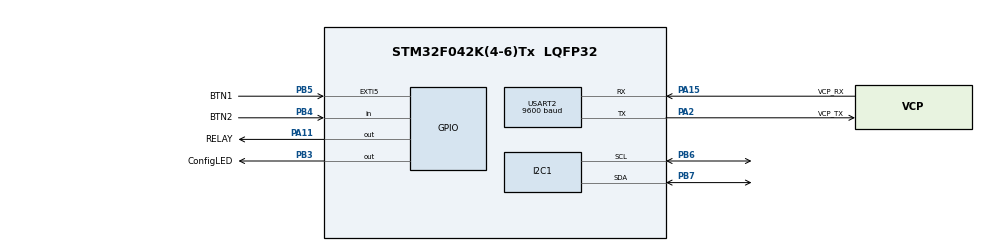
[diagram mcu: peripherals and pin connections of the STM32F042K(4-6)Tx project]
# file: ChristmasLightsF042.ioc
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Mcu.Family=STM32F0
Mcu.Name=STM32F042K(4-6)Tx
Mcu.Package=LQFP32
NVIC.EXTI4_15_IRQn=true\:0\:0\:false\:false\:true\:true\:true
NVIC.RTC_IRQn=true\:0\:0\:false\:false\:true\:true\:true
PA11.GPIO_Label=RELAY
PA11.GPIO_PuPd=GPIO_PULLDOWN
PA11.Signal=GPIO_Output
PA13.GPIO_Label=SWDIO
PA13.Mode=Serial_Wire
PA13.Signal=SYS_SWDIO
PA14.GPIO_Label=SWCLK
PA14.Mode=Serial_Wire
PA14.Signal=SYS_SWCLK
PA15.GPIO_Label=VCP_RX
PA15.Mode=Asynchronous
PA15.Signal=USART2_RX
PA2.GPIO_Label=VCP_TX
PA2.Mode=Asynchronous
PA2.Signal=USART2_TX
PB3.GPIO_Label=ConfigLED
PB3.Signal=GPIO_Output
PB4.GPIO_Label=BTN2
PB4.Signal=GPIO_Input
PB5.GPIO_Label=BTN1
PB5.GPIO_PuPd=GPIO_PULLDOWN
PB5.Signal=GPXTI5
PB6.Mode=I2C
PB6.Signal=I2C1_SCL
PB7.Mode=I2C
PB7.Signal=I2C1_SDA
PF0-OSC_IN.GPIO_Label=MCO
PF0-OSC_IN.Mode=HSE-External-Clock-Source
PF0-OSC_IN.Signal=RCC_OSC_IN
ProjectManager.HeapSize=0x200
ProjectManager.StackSize=0x400
ProjectManager.TargetToolchain=STM32CubeIDE
RTC.Alarm=RTC_ALARM_A
RTC.AsynchPrediv=99
RTC.Format=RTC_FORMAT_BIN
RTC.SynchPrediv=399
USART2.BaudRate=9600
USART2.VirtualMode-Asynchronous=VM_ASYNC
VP_RTC_VS_RTC_Activate.Mode=RTC_Enabled
VP_RTC_VS_RTC_Alarm_A_Intern.Mode=Alarm A
VP_RTC_VS_RTC_Calendar.Mode=RTC_Calendar
board=NUCLEO-F042K6

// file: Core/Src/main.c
/* USER CODE BEGIN Header */
/**
  ******************************************************************************
  * @file           : main.c
  * @brief          : Main program body
  ******************************************************************************
  * @attention
  *
  * Copyright (c) 2021 STMicroelectronics.
  * All rights reserved.
  *
  * This software is licensed under terms that can be found in the LICENSE file
  * in the root directory of this software component.
  * If no LICENSE file comes with this software, it is provided AS-IS.
  *
  ******************************************************************************
  */
/* USER CODE END Header */
#include "main.h"

/* USER CODE BEGIN Includes */
#include "string.h"
#include "stdio.h"
#include "stdbool.h"
#include "light_sensor.h"
/* USER CODE END Includes */

/* USER CODE BEGIN PD */
#define LIGHT_THRESHOLD 20 // How dim it must be (in lux) to turn relay on.
#define SLEEP_MINUTES   10 // Minutes we'll sleep before checking lux again
#define SLEEP_SECONDS    0 // Ditto seconds
/* USER CODE END PD */

I2C_HandleTypeDef hi2c1;

RTC_HandleTypeDef hrtc;

UART_HandleTypeDef huart2;

/* USER CODE BEGIN PV */
I2C_HandleTypeDef *g_hi2c1;
uint8_t timeConfigState = 0;
uint8_t wasSleeping = 0;
uint32_t lastButtonInt = 0;
/* USER CODE END PV */

void SystemClock_Config(void);
static void MX_GPIO_Init(void);
static void MX_USART2_UART_Init(void);
static void MX_I2C1_Init(void);
static void MX_RTC_Init(void);
/* USER CODE BEGIN PFP */
bool TimeConfiguration();
bool ReportLux(long lux);
void IncrementTime(RTC_TimeTypeDef *time, uint8_t hoursDelta, uint8_t minutesDelta, uint8_t secondsDelta);
bool LightsShouldBeOn(const RTC_TimeTypeDef *time);
bool ConfigureAlarm(const RTC_TimeTypeDef *time);
/* USER CODE END PFP */

/* USER CODE BEGIN 0 */

/**
 * @brief State machine to configure the clock.
 * TODO: add error checking
 */
bool TimeConfiguration()
{
	HAL_StatusTypeDef status = HAL_OK;
	char msg[40];
	RTC_TimeTypeDef time;
	int i;

	time.Hours = 0;
	time.Minutes = 0;
	time.Seconds = 0;
	time.TimeFormat = RTC_HOURFORMAT12_AM;
	time.SubSeconds = time.SecondFraction = 0;
	time.DayLightSaving = RTC_DAYLIGHTSAVING_NONE;
	time.StoreOperation = RTC_STOREOPERATION_SET;

	// Turn on LED to indicate we're in configuration mode.
	HAL_GPIO_WritePin(ConfigLED_GPIO_Port, ConfigLED_Pin, GPIO_PIN_SET);

	while (timeConfigState < 3)
	{
		if (timeConfigState == 1) // Counting presses of BTN2 to increment the hour.
		{
			if (HAL_GPIO_ReadPin(BTN2_GPIO_Port, BTN2_Pin) == GPIO_PIN_SET)
			{
				HAL_Delay(200); // debounce

				time.Hours = (time.Hours + 1) % 24;

				sprintf(msg, "Incrementing hour to %i\r\n", time.Hours);
				HAL_UART_Transmit(&huart2, (uint8_t *)msg, strlen(msg), 5000);
			}
		}
		else if (timeConfigState == 2) // Counting presses of BTN2 to increment the minutes.
		{
			if (HAL_GPIO_ReadPin(BTN2_GPIO_Port, BTN2_Pin) == GPIO_PIN_SET)
			{
				HAL_Delay(200); // debounce

				time.Minutes = (time.Minutes + 1) % 60;

				sprintf(msg, "Incrementing minute to %i\r\n", time.Minutes);
				HAL_UART_Transmit(&huart2, (uint8_t *)msg, strlen(msg), 5000);
			}
		}
	}

	status = HAL_RTC_SetTime(&hrtc, &time, RTC_FORMAT_BIN);
	if (status == HAL_OK)
	{
		sprintf(msg, "Setting time to %i:%i\r\n", time.Hours, time.Minutes);
	}
	else
	{
		strcpy(msg, "Failed to set time.\r\n");
	}
	HAL_UART_Transmit(&huart2, (uint8_t *)msg, strlen(msg), 5000);

	timeConfigState = 0;

	// Blink LED twice to indicate completion
	for (i = 0; i < 5; i++)
	{
		HAL_GPIO_TogglePin(ConfigLED_GPIO_Port, ConfigLED_Pin);
		HAL_Delay(200);
	}

	return true;
}

/**
 * @brief Flashes the config LED as many times as the integer log of lux.
 * @param lux The measured amount of lux.
 * TODO: add error checking
 */
bool ReportLux(long lux)
{
	// Do a rough log10 approximation.
	long log = 0;
	for (; lux > 0;) {
		lux = lux / 10;
		if (lux > 0)
		{
			log++;
		}
	}

	// Blink the LED
	for (long i = 0; i < (log+1) * 2; i++)
	{
		HAL_GPIO_TogglePin(ConfigLED_GPIO_Port, ConfigLED_Pin);
		HAL_Delay(500);
	}

	return true;
}

/**
 * @brief Utility function to increment specific fields of TimeTypeDef struct.
 */
void IncrementTime(RTC_TimeTypeDef *time, uint8_t hoursDelta, uint8_t minutesDelta, uint8_t secondsDelta)
{
	time->Seconds += secondsDelta;
	if (time->Seconds >= 60)
	{
		time->Seconds -= 60;
		time->Minutes++;
	}

	time->Minutes += minutesDelta;
	if (time->Minutes >= 60)
	{
		time->Minutes -= 60;
		time->Hours++;
	}

	time->Hours = (time->Hours + hoursDelta) % 24;
}

/**
 * @brief Determines if lights (relay) should be on at at given time.
 * @param time Pointer to a RTC_TimeTypeDef HAL structure containing the time.
 */
bool LightsShouldBeOn(const RTC_TimeTypeDef *time)
{
	return time->Hours >= 8 && time->Hours < 23;
}

/**
 * @brief Sets up an alarm to wake up the MCU.
 */
bool ConfigureAlarm(const RTC_TimeTypeDef *time)
{
	HAL_StatusTypeDef status = HAL_OK;
	RTC_AlarmTypeDef alarm;
	char msg[40];

	status = HAL_RTC_DeactivateAlarm(&hrtc, RTC_ALARM_A);
	if (status != HAL_OK)
		return false;

	alarm.AlarmMask = RTC_ALARMMASK_DATEWEEKDAY;
	alarm.AlarmSubSecondMask = RTC_ALARMSUBSECONDMASK_ALL;
	alarm.AlarmDateWeekDaySel = RTC_ALARMDATEWEEKDAYSEL_DATE;
	alarm.AlarmDateWeekDay = 1;
	alarm.Alarm = RTC_ALARM_A;

	if (LightsShouldBeOn(time)) // if lights should be on now, set alarm for 30 min
	{
		alarm.AlarmTime = *time;
		IncrementTime(&alarm.AlarmTime, 0, SLEEP_MINUTES, SLEEP_SECONDS);
	}
	else // Otherwise, set alarm for next day 8am
	{
		alarm.AlarmTime.Hours = 8;
		alarm.AlarmTime.Minutes = 0;
		alarm.AlarmTime.Seconds = 0;
	}

	sprintf(msg, "Going to sleep until %i:%i:%i\r\n",
			alarm.AlarmTime.Hours, alarm.AlarmTime.Minutes, alarm.AlarmTime.Seconds);
	HAL_UART_Transmit(&huart2, (uint8_t *)msg, strlen(msg), 5000);

	return HAL_RTC_SetAlarm_IT(&hrtc, &alarm, RTC_FORMAT_BIN) == HAL_OK;
}

/* USER CODE END 0 */

int main(void)
{
  /* USER CODE BEGIN 1 */
	char msg[40];
	HAL_StatusTypeDef status = HAL_OK;
	long lux;
	RTC_TimeTypeDef time;
	RTC_DateTypeDef date;

  /* USER CODE END 1 */

  /* MCU Configuration--------------------------------------------------------*/

  /* Reset of all peripherals, Initializes the Flash interface and the Systick. */
  HAL_Init();

  /* Configure the system clock */
  SystemClock_Config();

  /* Initialize all configured peripherals */
  MX_GPIO_Init();
  MX_USART2_UART_Init();
  MX_I2C1_Init();
  MX_RTC_Init();
  /* USER CODE BEGIN 2 */
	g_hi2c1 = &hi2c1;

	strcpy(msg, "Christmas Lights 0.5\r\n");
	HAL_UART_Transmit(&huart2, (uint8_t *)msg, strlen(msg), 5000);

	status = HAL_I2C_IsDeviceReady(&hi2c1, 0x29 << 1, 10, HAL_MAX_DELAY);
	if(status == HAL_OK)
	{
		strcpy(msg, "Light sensor ready\r\n");
		HAL_UART_Transmit(&huart2, (uint8_t *)msg, strlen(msg), 5000);

		light_init();
	}
	else
	{
		sprintf(msg, "Light sensor not ready - error %i\r\n", status);
		HAL_UART_Transmit(&huart2, (uint8_t *)msg, strlen(msg), 5000);
	}

  /* USER CODE END 2 */

  /* Infinite loop */
  /* USER CODE BEGIN WHILE */
	while (1)
	{
		if (timeConfigState)
		{
			strcpy(msg, "Entering time configuration\r\n");
			HAL_UART_Transmit(&huart2, (uint8_t *)msg, strlen(msg), 5000);

			TimeConfiguration();
		}
		else
		{
			status = HAL_RTC_GetTime(&hrtc, &time, RTC_FORMAT_BIN);
			if (status == HAL_OK)
			  HAL_RTC_GetDate(&hrtc, &date, RTC_FORMAT_BIN); // Must call this to unlock registers after GetTime

			lux = light_readVisibleLux();

			sprintf(msg, "%i:%i:%i Lux is %li\r\n", time.Hours, time.Minutes, time.Seconds, lux);
			HAL_UART_Transmit(&huart2, (uint8_t *)msg, strlen(msg), 5000);

			// Turn relay only after 8am if light drops below threshold.
			if (LightsShouldBeOn(&time) && lux < LIGHT_THRESHOLD)
			{
				HAL_GPIO_WritePin(RELAY_GPIO_Port, RELAY_Pin, GPIO_PIN_SET);
			}
			else
			{
				HAL_GPIO_WritePin(RELAY_GPIO_Port, RELAY_Pin, GPIO_PIN_RESET);
			}

			ReportLux(lux);

			// Setup an alarm to wake us up.
			ConfigureAlarm(&time);

			// Enter sleep mode. Must suspend SysTick otherwise its interrupt will wake us up.
			wasSleeping = 1;
			HAL_SuspendTick();
			HAL_PWR_EnterSLEEPMode(PWR_MAINREGULATOR_ON, PWR_SLEEPENTRY_WFI);
		}
    /* USER CODE END WHILE */

  }
}

void SystemClock_Config(void)
{
  RCC_OscInitTypeDef RCC_OscInitStruct = {0};
  RCC_ClkInitTypeDef RCC_ClkInitStruct = {0};
  RCC_PeriphCLKInitTypeDef PeriphClkInit = {0};

  /** Initializes the RCC Oscillators according to the specified parameters
  * in the RCC_OscInitTypeDef structure.
  */
  RCC_OscInitStruct.OscillatorType = RCC_OSCILLATORTYPE_HSI|RCC_OSCILLATORTYPE_LSI;
  RCC_OscInitStruct.HSIState = RCC_HSI_ON;
  RCC_OscInitStruct.HSICalibrationValue = RCC_HSICALIBRATION_DEFAULT;
  RCC_OscInitStruct.LSIState = RCC_LSI_ON;
  RCC_OscInitStruct.PLL.PLLState = RCC_PLL_NONE;
  if (HAL_RCC_OscConfig(&RCC_OscInitStruct) != HAL_OK)
  {
    Error_Handler();
  }
  /** Initializes the CPU, AHB and APB buses clocks
  */
  RCC_ClkInitStruct.ClockType = RCC_CLOCKTYPE_HCLK|RCC_CLOCKTYPE_SYSCLK
                              |RCC_CLOCKTYPE_PCLK1;
  RCC_ClkInitStruct.SYSCLKSource = RCC_SYSCLKSOURCE_HSI;
  RCC_ClkInitStruct.AHBCLKDivider = RCC_SYSCLK_DIV1;
  RCC_ClkInitStruct.APB1CLKDivider = RCC_HCLK_DIV1;

  if (HAL_RCC_ClockConfig(&RCC_ClkInitStruct, FLASH_LATENCY_0) != HAL_OK)
  {
    Error_Handler();
  }
  PeriphClkInit.PeriphClockSelection = RCC_PERIPHCLK_I2C1|RCC_PERIPHCLK_RTC;
  PeriphClkInit.I2c1ClockSelection = RCC_I2C1CLKSOURCE_HSI;
  PeriphClkInit.RTCClockSelection = RCC_RTCCLKSOURCE_LSI;
  if (HAL_RCCEx_PeriphCLKConfig(&PeriphClkInit) != HAL_OK)
  {
    Error_Handler();
  }
}

static void MX_I2C1_Init(void)
{

  hi2c1.Instance = I2C1;
  hi2c1.Init.Timing = 0x2000090E;
  hi2c1.Init.OwnAddress1 = 0;
  hi2c1.Init.AddressingMode = I2C_ADDRESSINGMODE_7BIT;
  hi2c1.Init.DualAddressMode = I2C_DUALADDRESS_DISABLE;
  hi2c1.Init.OwnAddress2 = 0;
  hi2c1.Init.OwnAddress2Masks = I2C_OA2_NOMASK;
  hi2c1.Init.GeneralCallMode = I2C_GENERALCALL_DISABLE;
  hi2c1.Init.NoStretchMode = I2C_NOSTRETCH_DISABLE;
  if (HAL_I2C_Init(&hi2c1) != HAL_OK)
  {
    Error_Handler();
  }
  /** Configure Analogue filter
  */
  if (HAL_I2CEx_ConfigAnalogFilter(&hi2c1, I2C_ANALOGFILTER_ENABLE) != HAL_OK)
  {
    Error_Handler();
  }
  /** Configure Digital filter
  */
  if (HAL_I2CEx_ConfigDigitalFilter(&hi2c1, 0) != HAL_OK)
  {
    Error_Handler();
  }

}

static void MX_RTC_Init(void)
{

  RTC_TimeTypeDef sTime = {0};
  RTC_DateTypeDef sDate = {0};
  RTC_AlarmTypeDef sAlarm = {0};

  /** Initialize RTC Only
  */
  hrtc.Instance = RTC;
  hrtc.Init.HourFormat = RTC_HOURFORMAT_24;
  hrtc.Init.AsynchPrediv = 127;
  hrtc.Init.SynchPrediv = 255;
  hrtc.Init.OutPut = RTC_OUTPUT_DISABLE;
  hrtc.Init.OutPutPolarity = RTC_OUTPUT_POLARITY_HIGH;
  hrtc.Init.OutPutType = RTC_OUTPUT_TYPE_OPENDRAIN;
  if (HAL_RTC_Init(&hrtc) != HAL_OK)
  {
    Error_Handler();
  }

  /** Initialize RTC and set the Time and Date
  */
  sTime.Hours = 0;
  sTime.Minutes = 0;
  sTime.Seconds = 0;
  sTime.DayLightSaving = RTC_DAYLIGHTSAVING_NONE;
  sTime.StoreOperation = RTC_STOREOPERATION_RESET;
  if (HAL_RTC_SetTime(&hrtc, &sTime, RTC_FORMAT_BIN) != HAL_OK)
  {
    Error_Handler();
  }
  sDate.WeekDay = RTC_WEEKDAY_MONDAY;
  sDate.Month = RTC_MONTH_JANUARY;
  sDate.Date = 1;
  sDate.Year = 0;

  if (HAL_RTC_SetDate(&hrtc, &sDate, RTC_FORMAT_BIN) != HAL_OK)
  {
    Error_Handler();
  }
  /** Enable the Alarm A
  */
  sAlarm.AlarmTime.Hours = 0;
  sAlarm.AlarmTime.Minutes = 0;
  sAlarm.AlarmTime.Seconds = 0;
  sAlarm.AlarmTime.SubSeconds = 0;
  sAlarm.AlarmTime.DayLightSaving = RTC_DAYLIGHTSAVING_NONE;
  sAlarm.AlarmTime.StoreOperation = RTC_STOREOPERATION_RESET;
  sAlarm.AlarmMask = RTC_ALARMMASK_NONE;
  sAlarm.AlarmSubSecondMask = RTC_ALARMSUBSECONDMASK_ALL;
  sAlarm.AlarmDateWeekDaySel = RTC_ALARMDATEWEEKDAYSEL_DATE;
  sAlarm.AlarmDateWeekDay = 1;
  sAlarm.Alarm = RTC_ALARM_A;
  if (HAL_RTC_SetAlarm_IT(&hrtc, &sAlarm, RTC_FORMAT_BIN) != HAL_OK)
  {
    Error_Handler();
  }

}

static void MX_USART2_UART_Init(void)
{

  huart2.Instance = USART2;
  huart2.Init.BaudRate = 9600;
  huart2.Init.WordLength = UART_WORDLENGTH_8B;
  huart2.Init.StopBits = UART_STOPBITS_1;
  huart2.Init.Parity = UART_PARITY_NONE;
  huart2.Init.Mode = UART_MODE_TX_RX;
  huart2.Init.HwFlowCtl = UART_HWCONTROL_NONE;
  huart2.Init.OverSampling = UART_OVERSAMPLING_16;
  huart2.Init.OneBitSampling = UART_ONE_BIT_SAMPLE_DISABLE;
  huart2.AdvancedInit.AdvFeatureInit = UART_ADVFEATURE_NO_INIT;
  if (HAL_UART_Init(&huart2) != HAL_OK)
  {
    Error_Handler();
  }

}

static void MX_GPIO_Init(void)
{
  GPIO_InitTypeDef GPIO_InitStruct = {0};

  /* GPIO Ports Clock Enable */
  __HAL_RCC_GPIOF_CLK_ENABLE();
  __HAL_RCC_GPIOA_CLK_ENABLE();
  __HAL_RCC_GPIOB_CLK_ENABLE();

  /*Configure GPIO pin Output Level */
  HAL_GPIO_WritePin(RELAY_GPIO_Port, RELAY_Pin, GPIO_PIN_RESET);

  /*Configure GPIO pin Output Level */
  HAL_GPIO_WritePin(ConfigLED_GPIO_Port, ConfigLED_Pin, GPIO_PIN_RESET);

  /*Configure GPIO pin : RELAY_Pin */
  GPIO_InitStruct.Pin = RELAY_Pin;
  GPIO_InitStruct.Mode = GPIO_MODE_OUTPUT_PP;
  GPIO_InitStruct.Pull = GPIO_PULLDOWN;
  GPIO_InitStruct.Speed = GPIO_SPEED_FREQ_LOW;
  HAL_GPIO_Init(RELAY_GPIO_Port, &GPIO_InitStruct);

  /*Configure GPIO pin : ConfigLED_Pin */
  GPIO_InitStruct.Pin = ConfigLED_Pin;
  GPIO_InitStruct.Mode = GPIO_MODE_OUTPUT_PP;
  GPIO_InitStruct.Pull = GPIO_NOPULL;
  GPIO_InitStruct.Speed = GPIO_SPEED_FREQ_LOW;
  HAL_GPIO_Init(ConfigLED_GPIO_Port, &GPIO_InitStruct);

  /*Configure GPIO pin : BTN2_Pin */
  GPIO_InitStruct.Pin = BTN2_Pin;
  GPIO_InitStruct.Mode = GPIO_MODE_INPUT;
  GPIO_InitStruct.Pull = GPIO_NOPULL;
  HAL_GPIO_Init(BTN2_GPIO_Port, &GPIO_InitStruct);

  /*Configure GPIO pin : BTN1_Pin */
  GPIO_InitStruct.Pin = BTN1_Pin;
  GPIO_InitStruct.Mode = GPIO_MODE_IT_RISING;
  GPIO_InitStruct.Pull = GPIO_PULLDOWN;
  HAL_GPIO_Init(BTN1_GPIO_Port, &GPIO_InitStruct);

  /* EXTI interrupt init*/
  HAL_NVIC_SetPriority(EXTI4_15_IRQn, 0, 0);
  HAL_NVIC_EnableIRQ(EXTI4_15_IRQn);

}

/* USER CODE BEGIN 4 */

void HAL_GPIO_EXTI_Callback(uint16_t GPIO_Pin)
{
	if (GPIO_Pin == BTN1_Pin)
	{
		// Resume clocks if the button press woke us up.
		if (wasSleeping)
		{
			SystemClock_Config();
			HAL_ResumeTick();
		}

		// Increment time configuration state, taking care to wait for button debounce.
		if (lastButtonInt == 0 || HAL_GetTick() - lastButtonInt > 200)
		{
			timeConfigState++;
		}
		lastButtonInt = HAL_GetTick();
	}
	wasSleeping = 0;
}

void HAL_RTC_AlarmAEventCallback(RTC_HandleTypeDef *hrtc)
{
	// Restore SysTick when the alarm wakes us up.
	SystemClock_Config();
	HAL_ResumeTick();
	wasSleeping = 0;
}
/* USER CODE END 4 */

void Error_Handler(void)
{
  __disable_irq();
  while (1)
  {
  }
}
